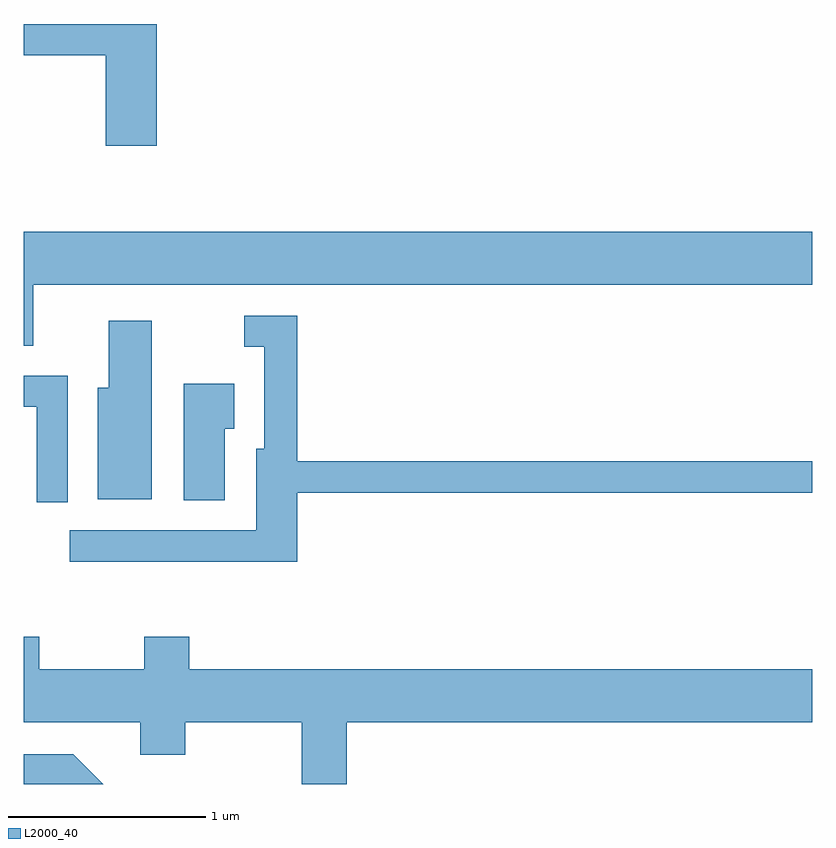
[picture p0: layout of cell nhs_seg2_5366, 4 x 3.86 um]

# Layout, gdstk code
import gdstk
lib = gdstk.Library(unit=1e-6, precision=1e-09)
def P(c, l, *ps):  # polygons
    for p in ps: c.add(gdstk.Polygon(p, *l))
L2000_40 = (2000, 40)

nhs_seg2_5366 = lib.new_cell('nhs_seg2_5366')
P(nhs_seg2_5366, L2000_40, [(344.284,1029.659),(343.611,1029.659),(343.611,1029.501),(344.026,1029.501),(344.026,1029.041),(344.284,1029.041)],
  [(343.659,1028.336),(347.611,1028.336),(347.611,1028.604),(343.611,1028.604),(343.611,1028.026),(343.659,1028.026)],
  [(344.999,1027.281),(347.611,1027.281),(347.611,1027.439),(344.999,1027.439),(344.999,1028.179),(344.728,1028.179),(344.728,1028.021),(344.831,1028.021),(344.831,1027.504),(344.791,1027.504),(344.791,1027.089),(343.843,1027.089),(343.843,1026.931),(344.999,1026.931)],
  [(344.259,1028.154),(344.041,1028.154),(344.041,1027.814),(343.986,1027.814),(343.986,1027.246),(344.259,1027.246)],
  [(343.834,1027.874),(343.611,1027.874),(343.611,1027.716),(343.676,1027.716),(343.676,1027.233),(343.834,1027.233)],
  [(344.629,1027.606),(344.679,1027.606),(344.679,1027.834),(344.421,1027.834),(344.421,1027.241),(344.629,1027.241)],
  [(345.249,1026.116),(347.611,1026.116),(347.611,1026.384),(344.449,1026.384),(344.449,1026.549),(344.221,1026.549),(344.221,1026.384),(343.689,1026.384),(343.689,1026.549),(343.611,1026.549),(343.611,1026.116),(344.201,1026.116),(344.201,1025.951),(344.429,1025.951),(344.429,1026.116),(345.021,1026.116),(345.021,1025.802),(345.249,1025.802)],
  [(343.862,1025.954),(343.611,1025.954),(343.611,1025.802),(344.014,1025.802)])

lib.write_gds('nhs_seg2_5366.gds')
